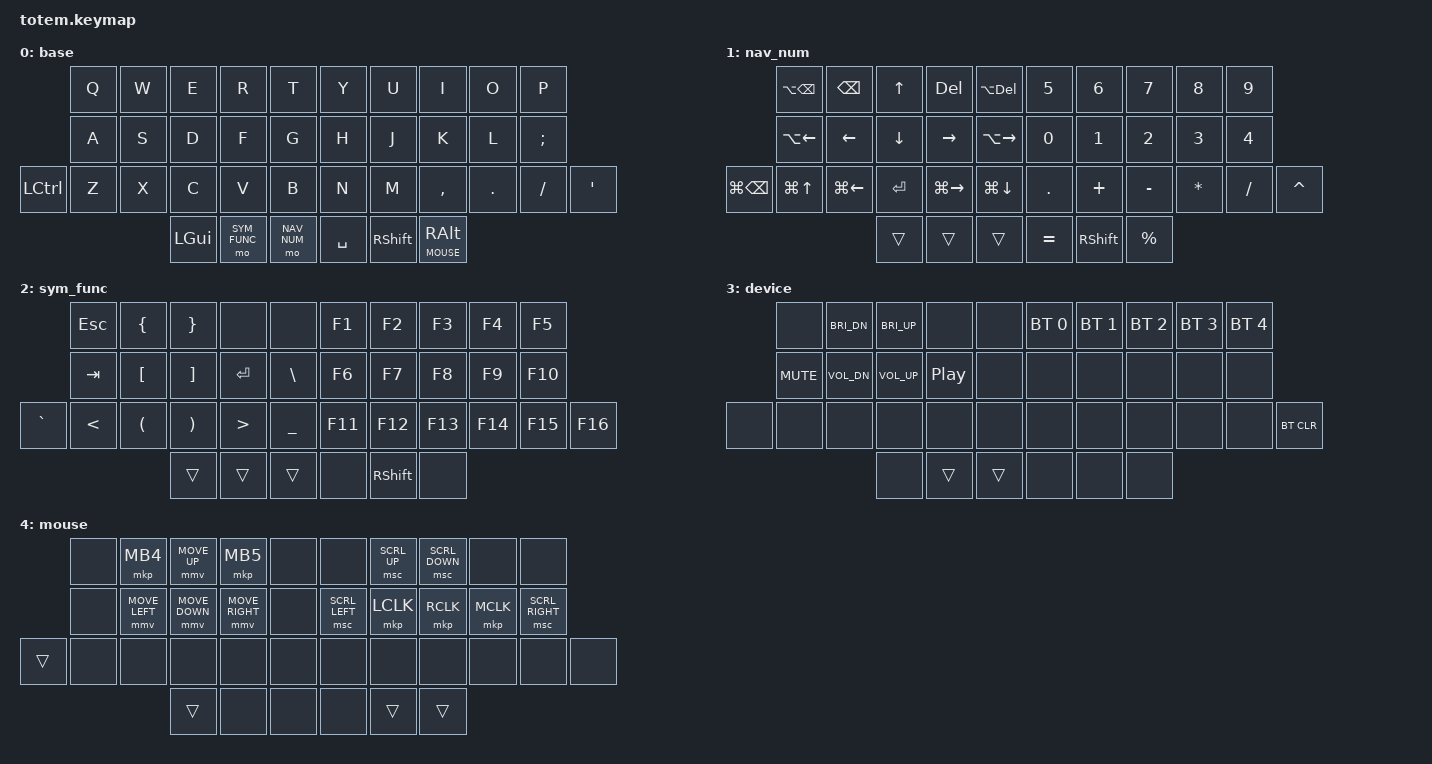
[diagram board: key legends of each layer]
//
//                                                        ▀▀▀▀▀     ▀▀▀▀▀          ▀▀█▀▀
//                                                        ▄▀▀▀▄  ▄  ▄▀▀▀▄  ▄  ▄▀▀▀▄  █  ▄▀▀▀▄
//                                                        █   █  █  █   █  █  █   █  █  █   █
//                                                         ▀▀▀   █   ▀▀▀   █   ▀▀▀   ▀   ▀▀▀
//                                                               █      ▄▄▄█▄▄▄    █   █  
//                                                               ▀      █  █  █     █▄█
//                                                             ▀▀▀▀▀    █  █  █      ▀
//                                                                      ▀  ▀  ▀
//
// ▄▄▄▄▄▄▄▄▄▄▄▄▄▄▄▄▄▄▄▄▄▄▄▄▄▄▄▄▄▄▄▄▄▄▄▄▄▄▄▄▄▄▄▄▄▄▄▄▄▄▄▄▄▄▄▄▄▄▄▄▄▄▄▄▄▄▄▄▄▄▄▄▄▄▄▄▄▄▄▄▄▄▄▄▄▄▄▄▄▄▄▄▄▄▄▄▄▄▄▄▄▄▄▄▄▄▄▄▄▄▄▄▄▄▄▄▄▄▄▄▄▄▄▄▄▄▄▄▄▄▄▄▄▄▄▄▄▄▄▄▄▄▄▄▄▄▄▄▄
       
#define ZMK_POINTING_DEFAULT_MOVE_VAL 1200
#define ZMK_POINTING_DEFAULT_SCRL_VAL 20

#include <behaviors.dtsi>
#include <dt-bindings/zmk/keys.h>
#include <dt-bindings/zmk/bt.h>
#include <dt-bindings/zmk/pointing.h>

#define BASE 0
#define NAV_NUM 1
#define SYM_FUNC 2
#define DEVICE 3
#define MOUSE 4

&lt {
    flavor = "balanced";
    tapping-term-ms = <200>;
    quick-tap-ms = <175>;
};

/ {
    conditional_layers {
        compatible = "zmk,conditional-layers";
        tri_layer {
            if-layers = <NAV_NUM SYM_FUNC>;
            then-layer = <DEVICE>;
        };
    };

    keymap {
        compatible = "zmk,keymap";

        base_layer {
            label = "base";
            bindings = <
                &kp Q &kp W &kp E &kp R &kp T &kp Y &kp U &kp I &kp O &kp P
                &kp A &kp S &kp D &kp F &kp G &kp H &kp J &kp K &kp L &kp SEMI
                &kp LCTRL &kp Z &kp X &kp C &kp V &kp B &kp N &kp M &kp COMMA &kp DOT &kp FSLH &kp SQT
                &kp LGUI &mo SYM_FUNC &mo NAV_NUM &kp SPACE &kp RSHIFT &lt MOUSE RALT
            >;
        };

        nav_num_layer {
            label = "nav_num";
            bindings = <
                &kp LA(BSPC) &kp BSPC &kp UP &kp DEL &kp LA(DEL) &kp N5 &kp N6 &kp N7 &kp N8 &kp N9
                &kp LA(LEFT) &kp LEFT &kp DOWN &kp RIGHT &kp LA(RIGHT) &kp N0 &kp N1 &kp N2 &kp N3 &kp N4
                &kp LG(BSPC) &kp LG(UP) &kp LG(LEFT) &kp RET &kp LG(RIGHT) &kp LG(DOWN) &kp DOT &kp PLUS &kp MINUS &kp STAR &kp FSLH &kp CARET
                &trans &trans &trans &kp EQUAL &kp RSHIFT &kp PRCNT
            >;
        };

        sym_func_layer {
            label = "sym_func";
            bindings = <
                &kp ESC &kp LBRC &kp RBRC &none &none &kp F1 &kp F2 &kp F3 &kp F4 &kp F5
                &kp TAB &kp LBKT &kp RBKT &kp RET &kp BSLH &kp F6 &kp F7 &kp F8 &kp F9 &kp F10
                &kp GRAVE &kp LT &kp LPAR &kp RPAR &kp GT &kp UNDER &kp F11 &kp F12 &kp F13 &kp F14 &kp F15 &kp F16
                &trans &trans &trans &none &kp RSHIFT &none
            >;
        };

        device_layer {
            label = "device";
            bindings = <
                &none &kp C_BRI_DN &kp C_BRI_UP &none &none &bt BT_SEL 0 &bt BT_SEL 1 &bt BT_SEL 2 &bt BT_SEL 3 &bt BT_SEL 4
                &kp C_MUTE &kp C_VOL_DN &kp C_VOL_UP &kp C_PP &none &none &none &none &none &none
                &none &none &none &none &none &none &none &none &none &none &none &bt BT_CLR
                &none &trans &trans &none &none &none
            >;
        };

        mouse_layer {
            label = "mouse";
            bindings = <
                &none &mkp MB4 &mmv MOVE_UP &mkp MB5 &none &none &msc SCRL_UP &msc SCRL_DOWN &none &none
                &none &mmv MOVE_LEFT &mmv MOVE_DOWN &mmv MOVE_RIGHT &none &msc SCRL_LEFT &mkp LCLK &mkp RCLK &mkp MCLK &msc SCRL_RIGHT
                &trans &none &none &none &none &none &none &none &none &none &none &none
                &trans &none &none &none &trans &trans
            >;
        };
    };
};

